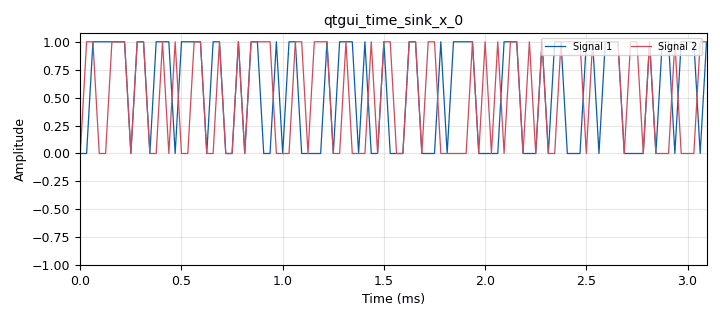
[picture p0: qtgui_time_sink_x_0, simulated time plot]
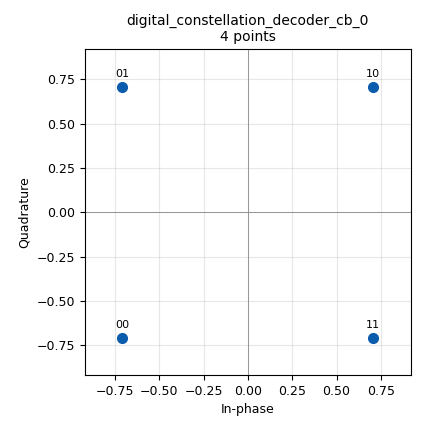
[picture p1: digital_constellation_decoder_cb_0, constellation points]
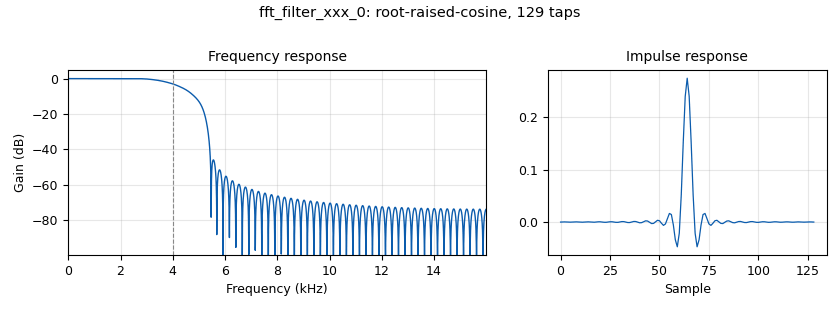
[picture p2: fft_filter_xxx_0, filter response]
options:
  parameters:
    generate_options: qt_gui
    id: qpsk_test
    output_language: python
    title: QPSK Test
  states: {}

blocks:
- name: excess_bw
  id: variable
  parameters:
    value: '0.35'
  states: {}
- name: frequency_offset
  id: variable_qtgui_range
  parameters:
    label: 'Channel: Frequency Offset'
    start: '-0.1'
    step: '0.001'
    stop: '0.1'
    value: '.025'
  states: {}
- name: nfilts
  id: variable
  parameters:
    value: '32'
  states: {}
- name: noise_volt
  id: variable_qtgui_range
  parameters:
    label: 'Channel : Voltage Noise'
    start: '0'
    step: '.1'
    stop: '1'
    value: '.200'
  states: {}
- name: qpsk_const
  id: variable_constellation_rect
  parameters:
    const_points: '[-1-1j, -1+1j, 1+1j, 1-1j]'
    imag_sect: '2'
    real_sect: '2'
    rot_sym: '4'
    sym_map: '[0, 1, 3, 2]'
    w_imag_sect: '1'
    w_real_sect: '1'
  states: {}
- name: rrc_taps
  id: variable
  parameters:
    value: firdes.root_raised_cosine(1, samp_rate, samp_rate/float(sps), excess_bw, sps*nfilts)
  states: {}
- name: samp_rate
  id: variable
  parameters:
    value: '32000'
  states: {}
- name: sps
  id: variable
  parameters:
    value: '4'
  states: {}
- name: time_offset
  id: variable_qtgui_range
  parameters:
    label: 'Channel: Timing Offset'
    start: '.999'
    step: '0.000001'
    stop: '1.001'
    value: '1.0005'
  states: {}
- name: variable_0
  id: variable
  parameters:
    value: '0'
  states: {}
- name: analog_random_source_x_0
  id: analog_random_source_x
  parameters:
    max: '256'
    min: '0'
    num_samps: '10000'
    repeat: 'True'
    type: byte
  states: {}
- name: blocks_char_to_float_0
  id: blocks_char_to_float
  parameters:
    scale: '1'
  states: {}
- name: blocks_char_to_float_0_0
  id: blocks_char_to_float
  parameters:
    scale: '1'
  states: {}
- name: blocks_delay_0
  id: blocks_delay
  parameters:
    delay: '100'
    type: float
  states: {}
- name: blocks_throttle2_0
  id: blocks_throttle2
  parameters:
    samples_per_second: samp_rate
    type: byte
  states: {}
- name: blocks_unpack_k_bits_bb_0
  id: blocks_unpack_k_bits_bb
  parameters:
    k: '2'
  states: {}
- name: blocks_unpack_k_bits_bb_0_0
  id: blocks_unpack_k_bits_bb
  parameters:
    k: '2'
  states: {}
- name: channels_channel_model_0
  id: channels_channel_model
  parameters:
    epsilon: time_offset
    freq_offset: frequency_offset
    noise_voltage: noise_volt
    seed: '0'
    taps: '1.0'
  states: {}
- name: digital_constellation_decoder_cb_0
  id: digital_constellation_decoder_cb
  parameters:
    constellation: qpsk_const
  states: {}
- name: digital_constellation_modulator_0
  id: digital_constellation_modulator
  parameters:
    constellation: qpsk_const
    differential: 'True'
    excess_bw: excess_bw
    samples_per_symbol: sps
  states: {}
- name: digital_costas_loop_cc_0
  id: digital_costas_loop_cc
  parameters:
    order: '4'
    w: '0.0628'
  states: {}
- name: digital_diff_decoder_bb_0
  id: digital_diff_decoder_bb
  parameters:
    coding: digital.DIFF_DIFFERENTIAL
    modulus: '4'
  states: {}
- name: digital_map_bb_0
  id: digital_map_bb
  parameters:
    map: '[0,1,3,2]'
  states: {}
- name: digital_symbol_sync_xx_0
  id: digital_symbol_sync_xx
  parameters:
    damping: '1.0'
    loop_bw: '0.045'
    max_dev: '1.5'
    nfilters: nfilts
    osps: '1'
    pfb_mf_taps: rrc_taps
    resamp_type: digital.IR_PFB_MF
    sps: sps
    ted_gain: '1.0'
    ted_type: digital.TED_SIGNAL_TIMES_SLOPE_ML
    type: cc
  states: {state: disabled}
- name: digital_symbol_sync_xx_0_0
  id: digital_symbol_sync_xx
  parameters:
    damping: '1.0'
    loop_bw: '0.045'
    max_dev: '1.5'
    nfilters: nfilts
    osps: '1'
    pfb_mf_taps: rrc_taps
    resamp_type: digital.IR_MMSE_8TAP
    sps: sps
    ted_gain: '1.0'
    ted_type: digital.TED_SIGNAL_TIMES_SLOPE_ML
    type: cc
  states: {}
- name: fft_filter_xxx_0
  id: fft_filter_xxx
  parameters:
    decim: '1'
    taps: rrc_taps
    type: ccc
  states: {}
- name: qtgui_time_sink_x_0
  id: qtgui_time_sink_x
  parameters:
    nconnections: '2'
    size: '100'
    srate: samp_rate
    type: float
  states: {}
- name: virtual_sink_0
  id: virtual_sink
  parameters:
    stream_id: channel_tx
  states: {}
- name: virtual_sink_1
  id: virtual_sink
  parameters:
    stream_id: tx
  states: {}
- name: virtual_sink_2
  id: virtual_sink
  parameters:
    stream_id: decoded_rx
  states: {}
- name: virtual_sink_3
  id: virtual_sink
  parameters:
    stream_id: bits
  states: {}
- name: virtual_source_0
  id: virtual_source
  parameters:
    stream_id: decoded_rx
  states: {}
- name: virtual_source_0_0
  id: virtual_source
  parameters:
    stream_id: channel_tx
  states: {}
- name: virtual_source_0_1
  id: virtual_source
  parameters:
    stream_id: bits
  states: {}

connections:
- [analog_random_source_x_0, '0', blocks_throttle2_0, '0']
- [analog_random_source_x_0, '0', virtual_sink_3, '0']
- [blocks_char_to_float_0, '0', qtgui_time_sink_x_0, '0']
- [blocks_char_to_float_0_0, '0', blocks_delay_0, '0']
- [blocks_delay_0, '0', qtgui_time_sink_x_0, '1']
- [blocks_throttle2_0, '0', digital_constellation_modulator_0, '0']
- [blocks_unpack_k_bits_bb_0, '0', blocks_char_to_float_0, '0']
- [blocks_unpack_k_bits_bb_0_0, '0', blocks_char_to_float_0_0, '0']
- [channels_channel_model_0, '0', virtual_sink_0, '0']
- [digital_constellation_decoder_cb_0, '0', virtual_sink_2, '0']
- [digital_constellation_modulator_0, '0', channels_channel_model_0, '0']
- [digital_constellation_modulator_0, '0', virtual_sink_1, '0']
- [digital_costas_loop_cc_0, '0', digital_constellation_decoder_cb_0, '0']
- [digital_diff_decoder_bb_0, '0', digital_map_bb_0, '0']
- [digital_map_bb_0, '0', blocks_unpack_k_bits_bb_0, '0']
- [digital_symbol_sync_xx_0_0, '0', digital_costas_loop_cc_0, '0']
- [fft_filter_xxx_0, '0', digital_symbol_sync_xx_0_0, '0']
- [virtual_source_0, '0', digital_diff_decoder_bb_0, '0']
- [virtual_source_0_0, '0', fft_filter_xxx_0, '0']
- [virtual_source_0_1, '0', blocks_unpack_k_bits_bb_0_0, '0']

metadata:
  file_format: 1
  grc_version: 3.10.9.2
